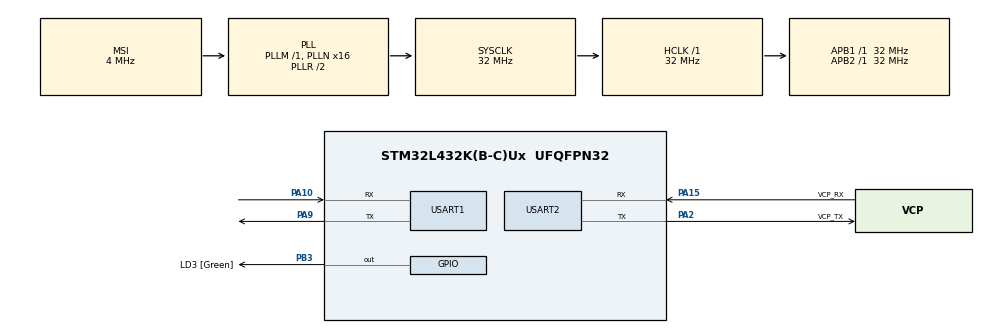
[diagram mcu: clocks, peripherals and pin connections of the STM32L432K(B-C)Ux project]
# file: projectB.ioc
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Mcu.Family=STM32L4
Mcu.Name=STM32L432K(B-C)Ux
Mcu.Package=UFQFPN32
NVIC.PriorityGroup=NVIC_PRIORITYGROUP_4
PA0.GPIO_Label=MCO [High speed clock in]
PA0.Mode=HSE-External-Clock-Source-for-LittleOrca
PA0.Signal=RCC_CK_IN
PA10.Mode=Asynchronous
PA10.Signal=USART1_RX
PA13\ (JTMS-SWDIO).GPIO_Label=SWDIO
PA13\ (JTMS-SWDIO).Mode=Serial_Wire
PA13\ (JTMS-SWDIO).Signal=SYS_JTMS-SWDIO
PA14\ (JTCK-SWCLK).GPIO_Label=SWCLK
PA14\ (JTCK-SWCLK).Mode=Serial_Wire
PA14\ (JTCK-SWCLK).Signal=SYS_JTCK-SWCLK
PA15\ (JTDI).GPIO_Label=VCP_RX
PA15\ (JTDI).Mode=Asynchronous
PA15\ (JTDI).Signal=USART2_RX
PA2.GPIO_Label=VCP_TX
PA2.Mode=Asynchronous
PA2.Signal=USART2_TX
PA9.Mode=Asynchronous
PA9.Signal=USART1_TX
PB3\ (JTDO-TRACESWO).GPIO_Label=LD3 [Green]
PB3\ (JTDO-TRACESWO).Signal=GPIO_Output
PC14-OSC32_IN\ (PC14).Mode=LSE-External-Oscillator
PC14-OSC32_IN\ (PC14).Signal=RCC_OSC32_IN
PC15-OSC32_OUT\ (PC15).Mode=LSE-External-Oscillator
PC15-OSC32_OUT\ (PC15).Signal=RCC_OSC32_OUT
ProjectManager.HeapSize=0x200
ProjectManager.StackSize=0x400
ProjectManager.TargetToolchain=STM32CubeIDE
RCC.AHBFreq_Value=32000000
RCC.APB1Freq_Value=32000000
RCC.APB1TimFreq_Value=32000000
RCC.APB2Freq_Value=32000000
RCC.APB2TimFreq_Value=32000000
RCC.CortexFreq_Value=32000000
RCC.HCLKFreq_Value=32000000
RCC.HSE_VALUE=8000000
RCC.HSI16_VALUE=16000000
RCC.HSI48_VALUE=48000000
RCC.HSI_VALUE=16000000
RCC.MSI_VALUE=4000000
RCC.PLLMUL=RCC_PLLMUL_4
RCC.PLLN=16
RCC.SYSCLKFreq_VALUE=32000000
RCC.SYSCLKSource=RCC_SYSCLKSOURCE_PLLCLK
RCC.VCOOutputFreq_Value=64000000
USART1.VirtualMode-Asynchronous=VM_ASYNC
USART2.VirtualMode-Asynchronous=VM_ASYNC
board=NUCLEO-L432KC

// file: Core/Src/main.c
/* USER CODE BEGIN Header
 *
 * THIS IS THE MILESTONE 3 HEADER
 */
/**
  ******************************************************************************
  * @file           : main.c
  * @brief          : Main program body
  ******************************************************************************
  * @attention
  *
  * Copyright (c) 2025 STMicroelectronics.
  * All rights reserved.
  *
  * This software is licensed under terms that can be found in the LICENSE file
  * in the root directory of this software component.
  * If no LICENSE file comes with this software, it is provided AS-IS.
  *
  ******************************************************************************
  */
/* USER CODE END Header */
#include "main.h"
#include <string.h>
#include <stdio.h>

UART_HandleTypeDef huart1;
UART_HandleTypeDef huart2;

void SystemClock_Config(void);
static void MX_GPIO_Init(void);
static void MX_USART2_UART_Init(void);
static void MX_USART1_UART_Init(void);

int main(void)
{

  /* USER CODE BEGIN 1 */
	char buffer[100];
	HAL_GPIO_WritePin(LD3_GPIO_Port, LD3_Pin, 0);
	char recieve[100];
	int length;
	int num;
	char temp[100];

  /* USER CODE END 1 */

  /* MCU Configuration--------------------------------------------------------*/

  /* Reset of all peripherals, Initializes the Flash interface and the Systick. */
  HAL_Init();

  /* Configure the system clock */
  SystemClock_Config();

  /* Initialize all configured peripherals */
  MX_GPIO_Init();
  MX_USART2_UART_Init();
  MX_USART1_UART_Init();

  /* Infinite loop */
  /* USER CODE BEGIN WHILE */
  while (1)
  {
//	  Head Code:
	  HAL_GPIO_WritePin(LD3_GPIO_Port, LD3_Pin, 1);
	  HAL_Delay(1500);
	  HAL_GPIO_WritePin(LD3_GPIO_Port, LD3_Pin, 0);

	  HAL_UART_Receive(&huart2, (uint8_t*)buffer, 6, HAL_MAX_DELAY);

	  HAL_GPIO_WritePin(LD3_GPIO_Port, LD3_Pin, 1);
	  HAL_Delay(250);

	  buffer[6] = '\0';  // Null-terminate the received string
	  strcat(buffer,"C09_0\n");

	  HAL_UART_Transmit(&huart1, (uint8_t*)buffer, sizeof(buffer), HAL_MAX_DELAY);

	  HAL_GPIO_WritePin(LD3_GPIO_Port, LD3_Pin, 0);

//    Recieve from last stm and send to computer

	  HAL_UART_Receive(&huart1, (uint8_t*)recieve, sizeof(recieve), HAL_MAX_DELAY);

	  HAL_GPIO_WritePin(LD3_GPIO_Port, LD3_Pin, 1);
	  HAL_Delay(250);

	  HAL_UART_Transmit(&huart2, (uint8_t*)recieve, sizeof(recieve), HAL_MAX_DELAY);

	  HAL_GPIO_WritePin(LD3_GPIO_Port, LD3_Pin, 0);

//	  Non-head code:
//	  HAL_GPIO_WritePin(LD3_GPIO_Port, LD3_Pin, 1);
//	  HAL_Delay(1500);
//	  HAL_GPIO_WritePin(LD3_GPIO_Port, LD3_Pin, 0);
//
//	  HAL_UART_Receive(&huart1, (uint8_t*)buffer, sizeof(buffer), HAL_MAX_DELAY);
//
//	  HAL_GPIO_WritePin(LD3_GPIO_Port, LD3_Pin, 1);
//	  HAL_Delay(250);
//
//	  length = strlen(buffer);
//	  buffer[length-1] = '\0';
//
//	  num = (length-6)/5;
//
//	  sprintf(temp, "C09_%d\n", num);
//	  strcat(buffer, temp);
//
//	  HAL_UART_Transmit(&huart1, (uint8_t*)buffer, sizeof(buffer), HAL_MAX_DELAY);
//
//	  HAL_GPIO_WritePin(LD3_GPIO_Port, LD3_Pin, 0);

    /* USER CODE END WHILE */

  }
}

void SystemClock_Config(void)
{
  RCC_OscInitTypeDef RCC_OscInitStruct = {0};
  RCC_ClkInitTypeDef RCC_ClkInitStruct = {0};

  /** Configure the main internal regulator output voltage
  */
  if (HAL_PWREx_ControlVoltageScaling(PWR_REGULATOR_VOLTAGE_SCALE1) != HAL_OK)
  {
    Error_Handler();
  }

  /** Configure LSE Drive Capability
  */
  HAL_PWR_EnableBkUpAccess();
  __HAL_RCC_LSEDRIVE_CONFIG(RCC_LSEDRIVE_LOW);

  /** Initializes the RCC Oscillators according to the specified parameters
  * in the RCC_OscInitTypeDef structure.
  */
  RCC_OscInitStruct.OscillatorType = RCC_OSCILLATORTYPE_LSE|RCC_OSCILLATORTYPE_MSI;
  RCC_OscInitStruct.LSEState = RCC_LSE_ON;
  RCC_OscInitStruct.MSIState = RCC_MSI_ON;
  RCC_OscInitStruct.MSICalibrationValue = 0;
  RCC_OscInitStruct.MSIClockRange = RCC_MSIRANGE_6;
  RCC_OscInitStruct.PLL.PLLState = RCC_PLL_ON;
  RCC_OscInitStruct.PLL.PLLSource = RCC_PLLSOURCE_MSI;
  RCC_OscInitStruct.PLL.PLLM = 1;
  RCC_OscInitStruct.PLL.PLLN = 16;
  RCC_OscInitStruct.PLL.PLLP = RCC_PLLP_DIV7;
  RCC_OscInitStruct.PLL.PLLQ = RCC_PLLQ_DIV2;
  RCC_OscInitStruct.PLL.PLLR = RCC_PLLR_DIV2;
  if (HAL_RCC_OscConfig(&RCC_OscInitStruct) != HAL_OK)
  {
    Error_Handler();
  }

  /** Initializes the CPU, AHB and APB buses clocks
  */
  RCC_ClkInitStruct.ClockType = RCC_CLOCKTYPE_HCLK|RCC_CLOCKTYPE_SYSCLK
                              |RCC_CLOCKTYPE_PCLK1|RCC_CLOCKTYPE_PCLK2;
  RCC_ClkInitStruct.SYSCLKSource = RCC_SYSCLKSOURCE_PLLCLK;
  RCC_ClkInitStruct.AHBCLKDivider = RCC_SYSCLK_DIV1;
  RCC_ClkInitStruct.APB1CLKDivider = RCC_HCLK_DIV1;
  RCC_ClkInitStruct.APB2CLKDivider = RCC_HCLK_DIV1;

  if (HAL_RCC_ClockConfig(&RCC_ClkInitStruct, FLASH_LATENCY_1) != HAL_OK)
  {
    Error_Handler();
  }

  /** Enable MSI Auto calibration
  */
  HAL_RCCEx_EnableMSIPLLMode();
}

static void MX_USART1_UART_Init(void)
{

  huart1.Instance = USART1;
  huart1.Init.BaudRate = 115200;
  huart1.Init.WordLength = UART_WORDLENGTH_8B;
  huart1.Init.StopBits = UART_STOPBITS_1;
  huart1.Init.Parity = UART_PARITY_NONE;
  huart1.Init.Mode = UART_MODE_TX_RX;
  huart1.Init.HwFlowCtl = UART_HWCONTROL_NONE;
  huart1.Init.OverSampling = UART_OVERSAMPLING_16;
  huart1.Init.OneBitSampling = UART_ONE_BIT_SAMPLE_DISABLE;
  huart1.AdvancedInit.AdvFeatureInit = UART_ADVFEATURE_NO_INIT;
  if (HAL_UART_Init(&huart1) != HAL_OK)
  {
    Error_Handler();
  }

}

static void MX_USART2_UART_Init(void)
{

  huart2.Instance = USART2;
  huart2.Init.BaudRate = 115200;
  huart2.Init.WordLength = UART_WORDLENGTH_8B;
  huart2.Init.StopBits = UART_STOPBITS_1;
  huart2.Init.Parity = UART_PARITY_NONE;
  huart2.Init.Mode = UART_MODE_TX_RX;
  huart2.Init.HwFlowCtl = UART_HWCONTROL_NONE;
  huart2.Init.OverSampling = UART_OVERSAMPLING_16;
  huart2.Init.OneBitSampling = UART_ONE_BIT_SAMPLE_DISABLE;
  huart2.AdvancedInit.AdvFeatureInit = UART_ADVFEATURE_NO_INIT;
  if (HAL_UART_Init(&huart2) != HAL_OK)
  {
    Error_Handler();
  }

}

static void MX_GPIO_Init(void)
{
  GPIO_InitTypeDef GPIO_InitStruct = {0};

  /* GPIO Ports Clock Enable */
  __HAL_RCC_GPIOC_CLK_ENABLE();
  __HAL_RCC_GPIOA_CLK_ENABLE();
  __HAL_RCC_GPIOB_CLK_ENABLE();

  /*Configure GPIO pin Output Level */
  HAL_GPIO_WritePin(LD3_GPIO_Port, LD3_Pin, GPIO_PIN_RESET);

  /*Configure GPIO pin : LD3_Pin */
  GPIO_InitStruct.Pin = LD3_Pin;
  GPIO_InitStruct.Mode = GPIO_MODE_OUTPUT_PP;
  GPIO_InitStruct.Pull = GPIO_NOPULL;
  GPIO_InitStruct.Speed = GPIO_SPEED_FREQ_LOW;
  HAL_GPIO_Init(LD3_GPIO_Port, &GPIO_InitStruct);

}

void Error_Handler(void)
{
  __disable_irq();
  while (1)
  {
  }
}
